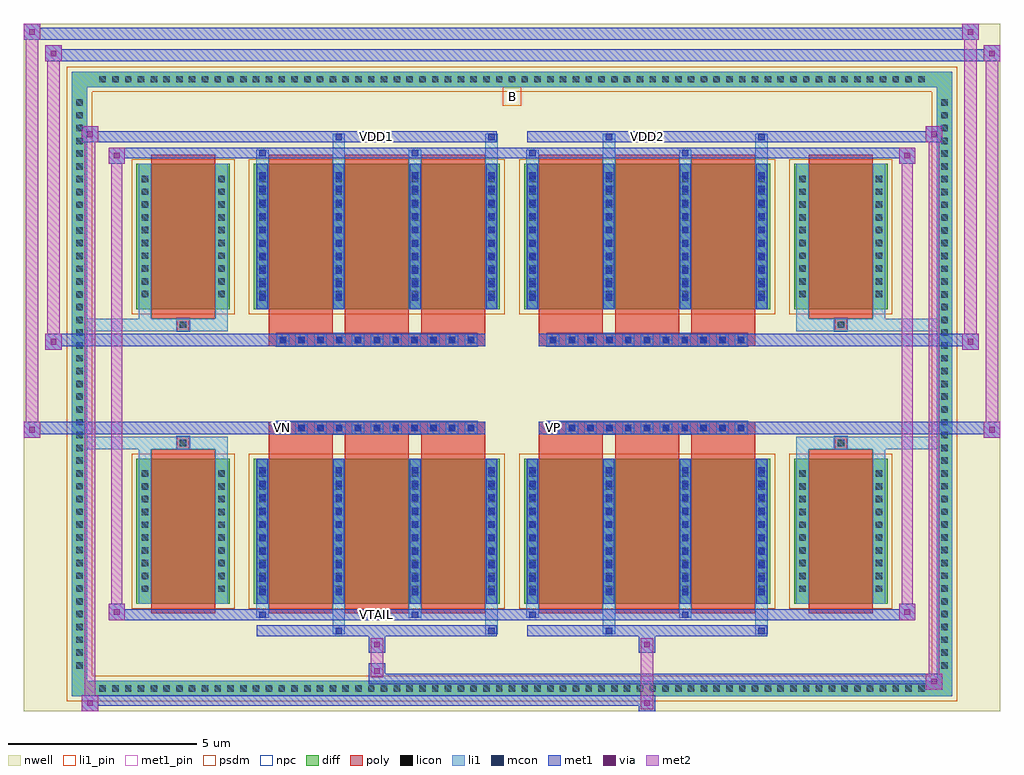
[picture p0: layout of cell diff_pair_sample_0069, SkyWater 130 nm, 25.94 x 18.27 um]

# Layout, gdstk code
import gdstk
lib = gdstk.Library(unit=1e-6, precision=5e-09)
def R(c, l, rs):  # rectangles x0, y0, x1, y1
    for r in rs: c.add(gdstk.rectangle(r[:2], r[2:], *l))
def A(c, l, x, y, w, h, nx, ny, dx, dy):  # array of equal rectangles
    R(c, l, [(x+i*dx, y+j*dy, x+i*dx+w, y+j*dy+h) for i in range(nx) for j in range(ny)])
def P(c, l, *ps):  # polygons
    for p in ps: c.add(gdstk.Polygon(p, *l))
nwell = (64, 20)
diff = (65, 20)
poly = (66, 20)
licon = (66, 44)
li1_pin = (67, 16)
li1 = (67, 20)
mcon = (67, 44)
met1_pin = (68, 16)
met1 = (68, 20)
via = (68, 44)
met2 = (69, 20)
psdm = (94, 20)
npc = (95, 20)

diff_pair_sample_0069 = lib.new_cell('diff_pair_sample_0069')
R(diff_pair_sample_0069, nwell, [(-12.97,-8.7,12.97,9.57), (-10.29,-6.89,-0.01,-0.805), (0.01,-6.89,10.29,-0.805), (-10.29,0.805,-0.01,6.89), (0.01,0.805,10.29,6.89)])
A(diff_pair_sample_0069, diff, -11.085, -8.3, 0.41, 0.41, 65, 2, 0.34, 16.19)
A(diff_pair_sample_0069, diff, -11.7, -7.685, 0.41, 0.41, 1, 45, 0, 0.34)
A(diff_pair_sample_0069, diff, 11.29, -7.685, 0.41, 0.41, 1, 45, 0, 0.34)
R(diff_pair_sample_0069, diff, [(-11.085,-8.3,11.085,-7.89), (-11.7,-7.685,-11.29,7.685), (11.29,-7.685,11.7,7.685), (-9.98,-5.845,-7.5,-1.985), (-6.86,-5.845,-0.32,-1.985), (0.32,-5.845,6.86,-1.985), (7.5,-5.845,9.98,-1.985), (-9.98,1.985,-7.5,5.845), (-6.86,1.985,-0.32,5.845), (0.32,1.985,6.86,5.845), (7.5,1.985,9.98,5.845), (-11.085,7.89,11.085,8.3)])
P(diff_pair_sample_0069, diff, [(11.7,8.3),(-11.7,8.3),(-11.7,-7.89),(-11.29,-7.89),(-11.29,7.89),(11.29,7.89),(11.29,-7.89),(-11.29,-7.89),(-11.7,-7.89),(-11.7,-8.3),(11.7,-8.3)])
A(diff_pair_sample_0069, poly, -6.47, -6.095, 1.7, 4.36, 3, 2, 2.03, 7.83)
A(diff_pair_sample_0069, poly, 0.71, -6.095, 1.7, 4.36, 3, 2, 2.03, 7.83)
A(diff_pair_sample_0069, poly, -6.47, -1.735, 1.7, 0.4, 3, 2, 2.03, 3.07)
A(diff_pair_sample_0069, poly, 0.71, -1.735, 1.7, 0.4, 3, 2, 2.03, 3.07)
A(diff_pair_sample_0069, poly, -6.255, -1.335, 0.33, 0.33, 11, 2, 0.5, 2.34)
A(diff_pair_sample_0069, poly, 0.925, -1.335, 0.33, 0.33, 11, 2, 0.5, 2.34)
R(diff_pair_sample_0069, poly, [(-9.59,-6.095,-7.89,-1.735), (7.89,-6.095,9.59,-1.735), (-8.905,-1.735,-8.575,-1.405), (-8.905,-1.735,-8.575,-1.405), (8.575,-1.735,8.905,-1.405), (8.575,-1.735,8.905,-1.405), (-6.47,-1.335,-0.71,-1.005), (0.71,-1.335,6.47,-1.005), (-6.47,1.005,-0.71,1.335), (0.71,1.005,6.47,1.335), (-8.905,1.405,-8.575,1.735), (-8.905,1.405,-8.575,1.735), (8.575,1.405,8.905,1.735), (8.575,1.405,8.905,1.735), (-9.59,1.735,-7.89,6.095), (7.89,1.735,9.59,6.095)])
A(diff_pair_sample_0069, licon, -10.965, -8.18, 0.17, 0.17, 65, 2, 0.34, 16.19)
A(diff_pair_sample_0069, licon, -11.58, -7.565, 0.17, 0.17, 1, 45, 0, 0.34)
A(diff_pair_sample_0069, licon, 11.41, -7.565, 0.17, 0.17, 1, 45, 0, 0.34)
A(diff_pair_sample_0069, licon, -9.84, -5.53, 0.17, 0.17, 1, 10, 0, 0.34)
A(diff_pair_sample_0069, licon, -7.81, -5.53, 0.17, 0.17, 1, 10, 0, 0.34)
A(diff_pair_sample_0069, licon, -6.72, -5.53, 0.17, 0.17, 4, 10, 2.03, 0.34)
A(diff_pair_sample_0069, licon, 0.46, -5.53, 0.17, 0.17, 4, 10, 2.03, 0.34)
A(diff_pair_sample_0069, licon, 7.64, -5.53, 0.17, 0.17, 1, 10, 0, 0.34)
A(diff_pair_sample_0069, licon, 9.67, -5.53, 0.17, 0.17, 1, 10, 0, 0.34)
A(diff_pair_sample_0069, licon, -6.175, -1.255, 0.17, 0.17, 11, 2, 0.5, 2.34)
A(diff_pair_sample_0069, licon, 1.005, -1.255, 0.17, 0.17, 11, 2, 0.5, 2.34)
A(diff_pair_sample_0069, licon, -9.84, 2.3, 0.17, 0.17, 1, 10, 0, 0.34)
A(diff_pair_sample_0069, licon, -7.81, 2.3, 0.17, 0.17, 1, 10, 0, 0.34)
A(diff_pair_sample_0069, licon, -6.72, 2.3, 0.17, 0.17, 4, 10, 2.03, 0.34)
A(diff_pair_sample_0069, licon, 0.46, 2.3, 0.17, 0.17, 4, 10, 2.03, 0.34)
A(diff_pair_sample_0069, licon, 7.64, 2.3, 0.17, 0.17, 1, 10, 0, 0.34)
A(diff_pair_sample_0069, licon, 9.67, 2.3, 0.17, 0.17, 1, 10, 0, 0.34)
R(diff_pair_sample_0069, licon, [(-8.825,-1.655,-8.655,-1.485), (8.655,-1.655,8.825,-1.485), (-8.825,1.485,-8.655,1.655), (8.655,1.485,8.825,1.655)])
R(diff_pair_sample_0069, li1_pin, [(-0.25,7.39,0.25,7.89)])
A(diff_pair_sample_0069, li1, -11.045, -8.26, 0.33, 0.33, 65, 2, 0.34, 16.19)
A(diff_pair_sample_0069, li1, -11.66, -7.645, 0.33, 0.33, 1, 45, 0, 0.34)
A(diff_pair_sample_0069, li1, 11.33, -7.645, 0.33, 0.33, 1, 45, 0, 0.34)
A(diff_pair_sample_0069, li1, -6.8, -5.845, 0.33, 3.86, 4, 2, 2.03, 7.83)
A(diff_pair_sample_0069, li1, 0.38, -5.845, 0.33, 3.86, 4, 2, 2.03, 7.83)
A(diff_pair_sample_0069, li1, -6.72, -5.62, 0.17, 0.17, 4, 10, 2.03, 0.36)
A(diff_pair_sample_0069, li1, -6.72, -5.62, 0.17, 3.41, 4, 2, 2.03, 7.83)
A(diff_pair_sample_0069, li1, 0.46, -5.62, 0.17, 0.17, 4, 10, 2.03, 0.36)
A(diff_pair_sample_0069, li1, 0.46, -5.62, 0.17, 3.41, 4, 2, 2.03, 7.83)
A(diff_pair_sample_0069, li1, -9.92, -5.61, 0.33, 0.33, 1, 10, 0, 0.34)
A(diff_pair_sample_0069, li1, -7.89, -5.61, 0.33, 0.33, 1, 10, 0, 0.34)
A(diff_pair_sample_0069, li1, -6.8, -5.61, 0.33, 0.33, 4, 10, 2.03, 0.34)
A(diff_pair_sample_0069, li1, 0.38, -5.61, 0.33, 0.33, 4, 10, 2.03, 0.34)
A(diff_pair_sample_0069, li1, 7.56, -5.61, 0.33, 0.33, 1, 10, 0, 0.34)
A(diff_pair_sample_0069, li1, 9.59, -5.61, 0.33, 0.33, 1, 10, 0, 0.34)
A(diff_pair_sample_0069, li1, -6.255, -1.335, 0.33, 0.33, 11, 2, 0.5, 2.34)
A(diff_pair_sample_0069, li1, 0.925, -1.335, 0.33, 0.33, 11, 2, 0.5, 2.34)
A(diff_pair_sample_0069, li1, -6.72, 2.21, 0.17, 0.17, 4, 10, 2.03, 0.36)
A(diff_pair_sample_0069, li1, 0.46, 2.21, 0.17, 0.17, 4, 10, 2.03, 0.36)
A(diff_pair_sample_0069, li1, -9.92, 2.22, 0.33, 0.33, 1, 10, 0, 0.34)
A(diff_pair_sample_0069, li1, -7.89, 2.22, 0.33, 0.33, 1, 10, 0, 0.34)
A(diff_pair_sample_0069, li1, -6.8, 2.22, 0.33, 0.33, 4, 10, 2.03, 0.34)
A(diff_pair_sample_0069, li1, 0.38, 2.22, 0.33, 0.33, 4, 10, 2.03, 0.34)
A(diff_pair_sample_0069, li1, 7.56, 2.22, 0.33, 0.33, 1, 10, 0, 0.34)
A(diff_pair_sample_0069, li1, 9.59, 2.22, 0.33, 0.33, 1, 10, 0, 0.34)
R(diff_pair_sample_0069, li1, [(-11.7,-8.3,-11.29,-7.89), (-11.7,-8.3,-11.29,-7.89), (-11.29,-8.3,11.29,-7.89), (11.29,-8.3,11.7,-7.89), (11.29,-8.3,11.7,-7.89), (-11.7,-7.89,-11.29,7.89), (11.29,-7.89,11.7,7.89), (-4.77,-6.65,-4.44,-5.845), (-4.69,-6.65,-4.52,-6.48), (-0.71,-6.65,-0.38,-5.845), (-0.63,-6.65,-0.46,-6.48), (2.41,-6.65,2.74,-5.845), (2.49,-6.65,2.66,-6.48), (6.47,-6.65,6.8,-5.845), (6.55,-6.65,6.72,-6.48), (-6.8,-6.22,-6.47,-5.845), (-6.72,-6.22,-6.55,-6.05), (-2.74,-6.22,-2.41,-5.845), (-2.66,-6.22,-2.49,-6.05), (0.38,-6.22,0.71,-5.845), (0.46,-6.22,0.63,-6.05), (4.44,-6.22,4.77,-5.845), (4.52,-6.22,4.69,-6.05), (-9.92,-5.845,-9.59,-1.985), (-7.89,-5.845,-7.56,-1.985), (7.56,-5.845,7.89,-1.985), (9.59,-5.845,9.92,-1.985), (-9.92,-1.985,-9.59,-1.405), (-7.89,-1.985,-7.56,-1.405), (7.56,-1.985,7.89,-1.405), (9.59,-1.985,9.92,-1.405), (-11.7,-1.735,-8.905,-1.405), (-9.92,-1.735,-8.905,-1.405), (-8.905,-1.735,-8.575,-1.405), (-8.575,-1.735,-7.56,-1.405), (7.56,-1.735,8.575,-1.405), (8.575,-1.735,8.905,-1.405), (8.575,-1.735,11.7,-1.405), (8.905,-1.735,9.92,-1.405), (-11.7,1.405,-8.905,1.735), (-9.92,1.405,-8.905,1.735), (-9.92,1.405,-9.59,1.985), (-8.905,1.405,-8.575,1.735), (-8.575,1.405,-7.56,1.735), (-7.89,1.405,-7.56,1.985), (7.56,1.405,8.575,1.735), (7.56,1.405,7.89,1.985), (8.575,1.405,8.905,1.735), (8.575,1.405,11.7,1.735), (8.905,1.405,9.92,1.735), (9.59,1.405,9.92,1.985), (-9.92,1.985,-9.59,5.845), (-7.89,1.985,-7.56,5.845), (7.56,1.985,7.89,5.845), (9.59,1.985,9.92,5.845), (-6.8,5.845,-6.47,6.22), (-4.77,5.845,-4.44,6.65), (-2.74,5.845,-2.41,6.22), (-0.71,5.845,-0.38,6.65), (0.38,5.845,0.71,6.22), (2.41,5.845,2.74,6.65), (4.44,5.845,4.77,6.22), (6.47,5.845,6.8,6.65), (-6.72,6.05,-6.55,6.22), (-2.66,6.05,-2.49,6.22), (0.46,6.05,0.63,6.22), (4.52,6.05,4.69,6.22), (-4.69,6.48,-4.52,6.65), (-0.63,6.48,-0.46,6.65), (2.49,6.48,2.66,6.65), (6.55,6.48,6.72,6.65), (-11.7,7.89,-11.29,8.3), (-11.7,7.89,-11.29,8.3), (-11.29,7.89,11.29,8.3), (11.29,7.89,11.7,8.3), (11.29,7.89,11.7,8.3)])
A(diff_pair_sample_0069, mcon, -6.72, -5.62, 0.17, 0.17, 4, 10, 2.03, 0.36)
A(diff_pair_sample_0069, mcon, 0.46, -5.62, 0.17, 0.17, 4, 10, 2.03, 0.36)
A(diff_pair_sample_0069, mcon, -6.175, -1.255, 0.17, 0.17, 11, 2, 0.5, 2.34)
A(diff_pair_sample_0069, mcon, 1.005, -1.255, 0.17, 0.17, 11, 2, 0.5, 2.34)
A(diff_pair_sample_0069, mcon, -6.72, 2.21, 0.17, 0.17, 4, 10, 2.03, 0.36)
A(diff_pair_sample_0069, mcon, 0.46, 2.21, 0.17, 0.17, 4, 10, 2.03, 0.36)
R(diff_pair_sample_0069, mcon, [(-4.69,-6.65,-4.52,-6.48), (-0.63,-6.65,-0.46,-6.48), (2.49,-6.65,2.66,-6.48), (6.55,-6.65,6.72,-6.48), (-6.72,-6.22,-6.55,-6.05), (-2.66,-6.22,-2.49,-6.05), (0.46,-6.22,0.63,-6.05), (4.52,-6.22,4.69,-6.05), (-6.72,6.05,-6.55,6.22), (-2.66,6.05,-2.49,6.22), (0.46,6.05,0.63,6.22), (4.52,6.05,4.69,6.22), (-4.69,6.48,-4.52,6.65), (-0.63,6.48,-0.46,6.65), (2.49,6.48,2.66,6.65), (6.55,6.48,6.72,6.65)])
R(diff_pair_sample_0069, met1_pin, [(-3.725,-6.26,-3.455,-5.99), (-6.225,-1.295,-5.955,-1.025), (0.955,-1.295,1.225,-1.025), (-3.725,6.44,-3.455,6.71), (3.455,6.44,3.725,6.71)])
A(diff_pair_sample_0069, met1, -6.78, -5.845, 0.29, 3.86, 4, 2, 2.03, 7.83)
A(diff_pair_sample_0069, met1, 0.4, -5.845, 0.29, 3.86, 4, 2, 2.03, 7.83)
A(diff_pair_sample_0069, met1, -6.78, -5.68, 0.29, 0.29, 4, 10, 2.03, 0.36)
A(diff_pair_sample_0069, met1, 0.4, -5.68, 0.29, 0.29, 4, 10, 2.03, 0.36)
A(diff_pair_sample_0069, met1, -6.235, -1.315, 0.29, 0.29, 11, 2, 0.5, 2.34)
A(diff_pair_sample_0069, met1, 0.945, -1.315, 0.29, 0.29, 11, 2, 0.5, 2.34)
A(diff_pair_sample_0069, met1, -6.78, 2.15, 0.29, 0.29, 4, 10, 2.03, 0.36)
A(diff_pair_sample_0069, met1, 0.4, 2.15, 0.29, 0.29, 4, 10, 2.03, 0.36)
R(diff_pair_sample_0069, met1, [(-11.43,-8.7,-11,-8.27), (3.375,-8.7,3.805,-8.27), (-11.43,-8.56,3.805,-8.27), (11,-8.13,11.43,-7.7), (-3.805,-7.99,11.43,-7.7), (-3.805,-7.85,-3.375,-7.42), (-3.805,-7.14,-3.375,-6.71), (3.375,-7.14,3.805,-6.71), (-6.78,-6.71,-0.4,-6.42), (-4.75,-6.71,-4.46,-6.42), (-0.69,-6.71,-0.4,-6.42), (0.4,-6.71,6.78,-6.42), (2.43,-6.71,2.72,-6.42), (6.49,-6.71,6.78,-6.42), (-10.72,-6.28,-10.29,-5.85), (-10.72,-6.28,-6.78,-5.99), (-6.78,-6.28,-6.49,-5.99), (-6.78,-6.28,-0.4,-5.99), (-2.72,-6.28,-2.43,-5.99), (-0.4,-6.28,0.4,-5.99), (0.4,-6.28,0.69,-5.99), (0.4,-6.28,6.78,-5.99), (4.46,-6.28,4.75,-5.99), (6.78,-6.28,10.72,-5.99), (10.29,-6.28,10.72,-5.85), (-12.97,-1.435,-12.54,-1.005), (12.54,-1.435,12.97,-1.005), (-12.97,-1.335,-0.71,-1.005), (-6.47,-1.335,-0.71,-1.005), (0.71,-1.335,6.47,-1.005), (0.71,-1.335,12.97,-1.005), (-12.4,0.905,-11.97,1.335), (11.97,0.905,12.4,1.335), (-12.4,1.005,-6.47,1.335), (-6.47,1.005,-0.71,1.335), (0.71,1.005,6.47,1.335), (6.47,1.005,12.4,1.335), (-10.72,5.85,-10.29,6.28), (10.29,5.85,10.72,6.28), (-10.72,5.99,-6.78,6.28), (-6.78,5.99,-6.49,6.28), (-6.78,5.99,-0.4,6.28), (-2.72,5.99,-2.43,6.28), (-0.4,5.99,0.4,6.28), (0.4,5.99,0.69,6.28), (0.4,5.99,6.78,6.28), (4.46,5.99,4.75,6.28), (6.78,5.99,10.72,6.28), (-11.43,6.42,-11,6.85), (-11.43,6.42,-6.78,6.71), (-6.78,6.42,-0.4,6.71), (-4.75,6.42,-4.46,6.71), (-0.69,6.42,-0.4,6.71), (0.4,6.42,6.78,6.71), (2.43,6.42,2.72,6.71), (6.49,6.42,6.78,6.71), (6.78,6.42,11.43,6.71), (11,6.42,11.43,6.85), (-12.4,8.57,-11.97,9), (-12.4,8.57,-10.29,8.9), (-10.29,8.57,10.29,8.9), (10.29,8.57,12.97,8.9), (12.54,8.57,12.97,9), (-12.97,9.14,-12.54,9.57), (-12.97,9.14,-10.29,9.47), (-10.29,9.14,10.29,9.47), (10.29,9.14,12.4,9.47), (11.97,9.14,12.4,9.57)])
R(diff_pair_sample_0069, via, [(-11.29,-8.56,-11.14,-8.41), (3.515,-8.56,3.665,-8.41), (11.14,-7.99,11.29,-7.84), (-3.665,-7.71,-3.515,-7.56), (-3.665,-7,-3.515,-6.85), (3.515,-7,3.665,-6.85), (-10.58,-6.14,-10.43,-5.99), (10.43,-6.14,10.58,-5.99), (-12.83,-1.295,-12.68,-1.145), (12.68,-1.295,12.83,-1.145), (-12.26,1.045,-12.11,1.195), (12.11,1.045,12.26,1.195), (-10.58,5.99,-10.43,6.14), (10.43,5.99,10.58,6.14), (-11.29,6.56,-11.14,6.71), (11.14,6.56,11.29,6.71), (-12.26,8.71,-12.11,8.86), (12.68,8.71,12.83,8.86), (-12.83,9.28,-12.68,9.43), (12.11,9.28,12.26,9.43)])
R(diff_pair_sample_0069, met2, [(-11.43,-8.7,-11,-8.27), (-11.36,-8.7,-11.07,6.85), (-11.07,-8.7,-11,-8.27), (-11.38,-8.65,-11.05,-8.32), (3.425,-8.65,3.755,-8.32), (3.425,-8.32,3.755,-7.09), (11,-8.13,11.43,-7.7), (11.07,-8.13,11.36,6.85), (11.36,-8.13,11.43,-7.7), (11.05,-8.08,11.38,-7.75), (-3.755,-7.8,-3.425,-7.47), (-3.755,-7.47,-3.425,-7.09), (-3.755,-7.09,-3.425,-6.76), (3.425,-7.09,3.755,-6.76), (-10.72,-6.28,-10.29,-5.85), (-10.65,-6.28,-10.36,6.28), (-10.36,-6.28,-10.29,-5.85), (10.29,-6.28,10.72,-5.85), (10.36,-6.28,10.65,6.28), (10.65,-6.28,10.72,-5.85), (-10.67,-6.23,-10.34,-5.9), (10.34,-6.23,10.67,-5.9), (-12.97,-1.435,-12.54,-1.005), (-12.92,-1.435,-12.59,9.57), (-12.59,-1.435,-12.54,-1.005), (12.54,-1.435,12.97,-1.005), (12.59,-1.435,12.92,9), (12.92,-1.435,12.97,-1.005), (-12.92,-1.385,-12.59,-1.055), (12.59,-1.385,12.92,-1.055), (-12.4,0.905,-11.97,1.335), (-12.35,0.905,-12.02,9), (-12.02,0.905,-11.97,1.335), (11.97,0.905,12.4,1.335), (12.02,0.905,12.35,9.57), (12.35,0.905,12.4,1.335), (-12.35,0.955,-12.02,1.285), (12.02,0.955,12.35,1.285), (-10.72,5.85,-10.29,6.28), (-10.36,5.85,-10.29,6.28), (10.29,5.85,10.72,6.28), (10.65,5.85,10.72,6.28), (-10.67,5.9,-10.34,6.23), (10.34,5.9,10.67,6.23), (-11.43,6.42,-11,6.85), (-11.07,6.42,-11,6.85), (11,6.42,11.43,6.85), (11.36,6.42,11.43,6.85), (-11.38,6.47,-11.05,6.8), (11.05,6.47,11.38,6.8), (-12.4,8.57,-11.97,9), (-12.02,8.57,-11.97,9), (12.54,8.57,12.97,9), (12.92,8.57,12.97,9), (-12.35,8.62,-12.02,8.95), (12.59,8.62,12.92,8.95), (-12.97,9.14,-12.54,9.57), (-12.59,9.14,-12.54,9.57), (11.97,9.14,12.4,9.57), (12.35,9.14,12.4,9.57), (-12.92,9.19,-12.59,9.52), (12.02,9.19,12.35,9.52)])
R(diff_pair_sample_0069, psdm, [(-10.11,-5.975,-7.37,-1.855), (-6.99,-5.975,-0.19,-1.855), (0.19,-5.975,6.99,-1.855), (7.37,-5.975,10.11,-1.855), (-10.11,1.855,-7.37,5.975), (-6.99,1.855,-0.19,5.975), (0.19,1.855,6.99,5.975), (7.37,1.855,10.11,5.975)])
P(diff_pair_sample_0069, psdm, [(11.83,8.43),(-11.83,8.43),(-11.83,-7.76),(-11.16,-7.76),(-11.16,7.76),(11.16,7.76),(11.16,-7.76),(-11.16,-7.76),(-11.83,-7.76),(-11.83,-8.43),(11.83,-8.43)])
A(diff_pair_sample_0069, npc, -6.275, -1.355, 0.37, 0.37, 11, 2, 0.5, 2.34)
A(diff_pair_sample_0069, npc, 0.905, -1.355, 0.37, 0.37, 11, 2, 0.5, 2.34)
R(diff_pair_sample_0069, npc, [(-8.925,-1.755,-8.555,-1.385), (8.555,-1.755,8.925,-1.385), (-6.275,-1.355,-5.405,-0.985), (-6.275,-1.355,-5.405,-0.985), (-5.775,-1.355,-4.905,-0.985), (-5.775,-1.355,-4.905,-0.985), (-5.275,-1.355,-4.405,-0.985), (-5.275,-1.355,-4.405,-0.985), (-4.775,-1.355,-3.905,-0.985), (-4.775,-1.355,-3.905,-0.985), (-4.275,-1.355,-3.405,-0.985), (-4.275,-1.355,-3.405,-0.985), (-3.775,-1.355,-2.905,-0.985), (-3.775,-1.355,-2.905,-0.985), (-3.275,-1.355,-2.405,-0.985), (-3.275,-1.355,-2.405,-0.985), (-2.775,-1.355,-1.905,-0.985), (-2.775,-1.355,-1.905,-0.985), (-2.275,-1.355,-1.405,-0.985), (-2.275,-1.355,-1.405,-0.985), (-1.775,-1.355,-0.905,-0.985), (-1.775,-1.355,-0.905,-0.985), (0.905,-1.355,1.775,-0.985), (0.905,-1.355,1.775,-0.985), (1.405,-1.355,2.275,-0.985), (1.405,-1.355,2.275,-0.985), (1.905,-1.355,2.775,-0.985), (1.905,-1.355,2.775,-0.985), (2.405,-1.355,3.275,-0.985), (2.405,-1.355,3.275,-0.985), (2.905,-1.355,3.775,-0.985), (2.905,-1.355,3.775,-0.985), (3.405,-1.355,4.275,-0.985), (3.405,-1.355,4.275,-0.985), (3.905,-1.355,4.775,-0.985), (3.905,-1.355,4.775,-0.985), (4.405,-1.355,5.275,-0.985), (4.405,-1.355,5.275,-0.985), (4.905,-1.355,5.775,-0.985), (4.905,-1.355,5.775,-0.985), (5.405,-1.355,6.275,-0.985), (5.405,-1.355,6.275,-0.985), (-6.275,0.985,-5.405,1.355), (-6.275,0.985,-5.405,1.355), (-5.775,0.985,-4.905,1.355), (-5.775,0.985,-4.905,1.355), (-5.275,0.985,-4.405,1.355), (-5.275,0.985,-4.405,1.355), (-4.775,0.985,-3.905,1.355), (-4.775,0.985,-3.905,1.355), (-4.275,0.985,-3.405,1.355), (-4.275,0.985,-3.405,1.355), (-3.775,0.985,-2.905,1.355), (-3.775,0.985,-2.905,1.355), (-3.275,0.985,-2.405,1.355), (-3.275,0.985,-2.405,1.355), (-2.775,0.985,-1.905,1.355), (-2.775,0.985,-1.905,1.355), (-2.275,0.985,-1.405,1.355), (-2.275,0.985,-1.405,1.355), (-1.775,0.985,-0.905,1.355), (-1.775,0.985,-0.905,1.355), (0.905,0.985,1.775,1.355), (0.905,0.985,1.775,1.355), (1.405,0.985,2.275,1.355), (1.405,0.985,2.275,1.355), (1.905,0.985,2.775,1.355), (1.905,0.985,2.775,1.355), (2.405,0.985,3.275,1.355), (2.405,0.985,3.275,1.355), (2.905,0.985,3.775,1.355), (2.905,0.985,3.775,1.355), (3.405,0.985,4.275,1.355), (3.405,0.985,4.275,1.355), (3.905,0.985,4.775,1.355), (3.905,0.985,4.775,1.355), (4.405,0.985,5.275,1.355), (4.405,0.985,5.275,1.355), (4.905,0.985,5.775,1.355), (4.905,0.985,5.775,1.355), (5.405,0.985,6.275,1.355), (5.405,0.985,6.275,1.355), (-8.925,1.385,-8.555,1.755), (8.555,1.385,8.925,1.755)])
diff_pair_sample_0069.add(gdstk.Label('VTAIL', (-3.59,-6.125), layer=68, texttype=5))
diff_pair_sample_0069.add(gdstk.Label('VN', (-6.09,-1.16), layer=68, texttype=5))
diff_pair_sample_0069.add(gdstk.Label('VP', (1.09,-1.16), layer=68, texttype=5))
diff_pair_sample_0069.add(gdstk.Label('B', (0,7.64), layer=67, texttype=5))
diff_pair_sample_0069.add(gdstk.Label('VDD2', (3.59,6.575), layer=68, texttype=5))
diff_pair_sample_0069.add(gdstk.Label('VDD1', (-3.59,6.575), layer=68, texttype=5))

lib.write_gds('diff_pair_sample_0069.gds')
